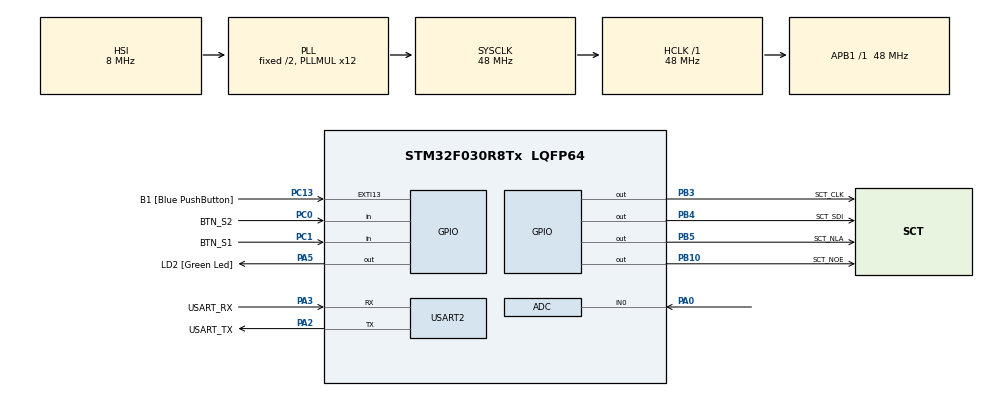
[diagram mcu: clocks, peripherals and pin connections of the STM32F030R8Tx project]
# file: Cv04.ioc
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ADC.ContinuousConvMode=ENABLE
ADC.Overrun=ADC_OVR_DATA_OVERWRITTEN
ADC.SamplingTime=ADC_SAMPLETIME_239CYCLES_5
Mcu.Family=STM32F0
Mcu.Name=STM32F030R8Tx
Mcu.Package=LQFP64
NVIC.ADC1_IRQn=true\:0\:0\:false\:false\:true\:true\:true\:true
PA0.Mode=IN0
PA0.Signal=ADC_IN0
PA13.GPIO_Label=TMS
PA13.Mode=Serial_Wire
PA13.Signal=SYS_SWDIO
PA14.GPIO_Label=TCK
PA14.Mode=Serial_Wire
PA14.Signal=SYS_SWCLK
PA2.GPIO_Label=USART_TX
PA2.GPIO_Mode=GPIO_MODE_AF_PP
PA2.GPIO_PuPd=GPIO_NOPULL
PA2.GPIO_Speed=GPIO_SPEED_FREQ_LOW
PA2.Mode=Asynchronous
PA2.Signal=USART2_TX
PA3.GPIO_Label=USART_RX
PA3.GPIO_Mode=GPIO_MODE_AF_PP
PA3.GPIO_PuPd=GPIO_NOPULL
PA3.GPIO_Speed=GPIO_SPEED_FREQ_LOW
PA3.Mode=Asynchronous
PA3.Signal=USART2_RX
PA5.GPIO_Label=LD2 [Green Led]
PA5.GPIO_Mode=GPIO_MODE_OUTPUT_PP
PA5.GPIO_PuPd=GPIO_NOPULL
PA5.GPIO_Speed=GPIO_SPEED_FREQ_LOW
PA5.Signal=GPIO_Output
PB10.GPIO_Label=SCT_NOE
PB10.Signal=GPIO_Output
PB3.GPIO_Label=SCT_CLK
PB3.Signal=GPIO_Output
PB4.GPIO_Label=SCT_SDI
PB4.Signal=GPIO_Output
PB5.GPIO_Label=SCT_NLA
PB5.Signal=GPIO_Output
PC0.GPIO_Label=BTN_S2
PC0.GPIO_PuPd=GPIO_PULLUP
PC0.Signal=GPIO_Input
PC1.GPIO_Label=BTN_S1
PC1.GPIO_PuPd=GPIO_PULLUP
PC1.Signal=GPIO_Input
PC13.GPIO_Label=B1 [Blue PushButton]
PC13.GPIO_ModeDefaultEXTI=GPIO_MODE_IT_FALLING
PC13.Signal=GPXTI13
PC14-OSC32_IN.Mode=LSE-External-Oscillator
PC14-OSC32_IN.Signal=RCC_OSC32_IN
PC15-OSC32_OUT.Mode=LSE-External-Oscillator
PC15-OSC32_OUT.Signal=RCC_OSC32_OUT
PF0-OSC_IN.Mode=HSE-External-Clock-Source
PF0-OSC_IN.Signal=RCC_OSC_IN
PF1-OSC_OUT.Signal=RCC_OSC_OUT
ProjectManager.HeapSize=0x200
ProjectManager.StackSize=0x400
ProjectManager.TargetToolchain=STM32CubeIDE
RCC.AHBFreq_Value=48000000
RCC.APB1Freq_Value=48000000
RCC.APB1TimFreq_Value=48000000
RCC.HCLKFreq_Value=48000000
RCC.PLLMUL=RCC_PLL_MUL12
RCC.SYSCLKFreq_VALUE=48000000
RCC.SYSCLKSource=RCC_SYSCLKSOURCE_PLLCLK
USART2.VirtualMode-Asynchronous=VM_ASYNC
VP_ADC_TempSens_Input.Mode=IN-TempSens
VP_ADC_Vref_Input.Mode=IN-Vrefint
board=NUCLEO-F030R8

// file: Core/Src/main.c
/* USER CODE BEGIN Header */
/**
  ******************************************************************************
  * @file           : main.c
  * @brief          : Main program body
  ******************************************************************************
  * @attention
  *
  * Copyright (c) 2022 STMicroelectronics.
  * All rights reserved.
  *
  * This software is licensed under terms that can be found in the LICENSE file
  * in the root directory of this software component.
  * If no LICENSE file comes with this software, it is provided AS-IS.
  *
  ******************************************************************************
  */
/* USER CODE END Header */
#include "main.h"

/* USER CODE BEGIN Includes */
#include "sct.h"
/* USER CODE END Includes */

/* USER CODE BEGIN PD */
#define ADC_Q	12
#define TEMP110_CAL_ADDR	((uint16_t*) ((uint32_t) 0x1FFFF7C2))
#define TEMP30_CAL_ADDR		((uint16_t*) ((uint32_t) 0x1FFFF7B8))
#define VREFINT_CAL_ADDR	((uint16_t*) ((uint32_t) 0x1FFFF7BA))
#define BUTTON_DELAY_TIME	5
/* USER CODE END PD */

ADC_HandleTypeDef hadc;

UART_HandleTypeDef huart2;

/* USER CODE BEGIN PV */
static volatile uint32_t raw_pot = 0;
static volatile uint32_t raw_temp = 0;
static volatile uint32_t raw_volt = 0;
static volatile enum {SHOW_POT, SHOW_VOLT, SHOW_TEMP } eState = SHOW_POT;
static volatile uint32_t ulShowDataToTime = 0;
/* USER CODE END PV */

void SystemClock_Config(void);
static void MX_GPIO_Init(void);
static void MX_USART2_UART_Init(void);
static void MX_ADC_Init(void);
/* USER CODE BEGIN PFP */
void tlacitka(void);
/* USER CODE END PFP */

/* USER CODE BEGIN 0 */

void HAL_ADC_ConvCpltCallback(ADC_HandleTypeDef* hadc)
{
	static uint32_t avg_pot = 0;
	static uint32_t channel = 0;
	if (channel == 0){
		raw_pot = avg_pot >> ADC_Q;//calculate mean value
		avg_pot -= raw_pot;//decrease accumulating with mean
		avg_pot += HAL_ADC_GetValue(hadc);//inc accumulating value with new value from ADC
	}
	else if (channel == 1) raw_temp = HAL_ADC_GetValue(hadc);
	else if (channel == 2) raw_volt = HAL_ADC_GetValue(hadc);

	if (__HAL_ADC_GET_FLAG(hadc, ADC_FLAG_EOS)) channel = 0;
	else channel++;
}

void tlacitka(void)
{
	//Button check and turn on leds
	static uint32_t delay = 0;
	static uint16_t debounce_SW1 = 0xFFFF, debounce_SW2 = 0xFFFF;
	uint32_t iTickTime = HAL_GetTick();
	if (iTickTime > (delay + BUTTON_DELAY_TIME))
	{
		delay = HAL_GetTick();
		debounce_SW1 <<= 1;
		debounce_SW2 <<= 1;
		if (HAL_GPIO_ReadPin(BTN_S2_GPIO_Port, BTN_S2_Pin))
			debounce_SW2 |= 0x00001;
		if (HAL_GPIO_ReadPin(BTN_S1_GPIO_Port, BTN_S1_Pin))
			debounce_SW1 |= 0x00001;

		//Turn on led
		if (debounce_SW1 == 0x7FFF)
		{
			eState = SHOW_VOLT;
			ulShowDataToTime = iTickTime + 1000;
		}
		if (debounce_SW2 == 0x7FFF)
		{
			eState = SHOW_TEMP;
			ulShowDataToTime = iTickTime + 1000;
		}
	}
}
/* USER CODE END 0 */

int main(void)
{

  /* MCU Configuration--------------------------------------------------------*/

  /* Reset of all peripherals, Initializes the Flash interface and the Systick. */
  HAL_Init();

  /* Configure the system clock */
  SystemClock_Config();

  /* Initialize all configured peripherals */
  MX_GPIO_Init();
  MX_USART2_UART_Init();
  MX_ADC_Init();
  /* USER CODE BEGIN 2 */
  sct_init();
  HAL_ADCEx_Calibration_Start(&hadc);
  HAL_ADC_Start(&hadc);
  uint32_t ulDelaytime = 0;
  /* USER CODE END 2 */

  /* Infinite loop */
  while (1)
  {

    /* USER CODE BEGIN 3 */
	  tlacitka();
	  uint32_t TickTime = HAL_GetTick();
	  if ((ulDelaytime + 100) < TickTime)//some slow down for changing data on display
	  {
		  ulDelaytime = TickTime;
		  if (ulShowDataToTime < TickTime) eState = SHOW_POT;
		  //Just because switch
		  uint32_t ulRangedAnalog = 0;
		  uint32_t ulVoltage = 0;
		  int32_t lTemp = 0;
		  //switch for show right data
		  switch (eState)
		  {
		  case SHOW_POT:
			  ulRangedAnalog = ((float)raw_pot / (float)0xFFF) * (float)500;//ADC have 12-bit (0xFFF) - to 0..1 and multiply to max range
			  sct_value(ulRangedAnalog/(500/9), ulRangedAnalog);//faster? - not using float variables
			  break;
		  case SHOW_VOLT:
			  ulVoltage = 330 * (*VREFINT_CAL_ADDR) / raw_volt;
			  sct_value(0, ulVoltage);
			  break;
		  case SHOW_TEMP:
			  lTemp = (raw_temp - (int32_t)(*TEMP30_CAL_ADDR));
			  lTemp *= (int32_t)(110-30);
			  lTemp /= (int32_t)(*TEMP110_CAL_ADDR - *TEMP30_CAL_ADDR);
			  lTemp += 30;
			  sct_value(0, lTemp);
			  break;
		  default:
			  eState = SHOW_POT;
			  break;
		  }
	  }
  }
  /* USER CODE END 3 */
}

void SystemClock_Config(void)
{
  RCC_OscInitTypeDef RCC_OscInitStruct = {0};
  RCC_ClkInitTypeDef RCC_ClkInitStruct = {0};

  /** Initializes the RCC Oscillators according to the specified parameters
  * in the RCC_OscInitTypeDef structure.
  */
  RCC_OscInitStruct.OscillatorType = RCC_OSCILLATORTYPE_HSI|RCC_OSCILLATORTYPE_HSI14;
  RCC_OscInitStruct.HSIState = RCC_HSI_ON;
  RCC_OscInitStruct.HSI14State = RCC_HSI14_ON;
  RCC_OscInitStruct.HSICalibrationValue = RCC_HSICALIBRATION_DEFAULT;
  RCC_OscInitStruct.HSI14CalibrationValue = 16;
  RCC_OscInitStruct.PLL.PLLState = RCC_PLL_ON;
  RCC_OscInitStruct.PLL.PLLSource = RCC_PLLSOURCE_HSI;
  RCC_OscInitStruct.PLL.PLLMUL = RCC_PLL_MUL12;
  RCC_OscInitStruct.PLL.PREDIV = RCC_PREDIV_DIV1;
  if (HAL_RCC_OscConfig(&RCC_OscInitStruct) != HAL_OK)
  {
    Error_Handler();
  }

  /** Initializes the CPU, AHB and APB buses clocks
  */
  RCC_ClkInitStruct.ClockType = RCC_CLOCKTYPE_HCLK|RCC_CLOCKTYPE_SYSCLK
                              |RCC_CLOCKTYPE_PCLK1;
  RCC_ClkInitStruct.SYSCLKSource = RCC_SYSCLKSOURCE_PLLCLK;
  RCC_ClkInitStruct.AHBCLKDivider = RCC_SYSCLK_DIV1;
  RCC_ClkInitStruct.APB1CLKDivider = RCC_HCLK_DIV1;

  if (HAL_RCC_ClockConfig(&RCC_ClkInitStruct, FLASH_LATENCY_1) != HAL_OK)
  {
    Error_Handler();
  }
}

static void MX_ADC_Init(void)
{

  ADC_ChannelConfTypeDef sConfig = {0};

  /** Configure the global features of the ADC (Clock, Resolution, Data Alignment and number of conversion)
  */
  hadc.Instance = ADC1;
  hadc.Init.ClockPrescaler = ADC_CLOCK_ASYNC_DIV1;
  hadc.Init.Resolution = ADC_RESOLUTION_12B;
  hadc.Init.DataAlign = ADC_DATAALIGN_RIGHT;
  hadc.Init.ScanConvMode = ADC_SCAN_DIRECTION_FORWARD;
  hadc.Init.EOCSelection = ADC_EOC_SINGLE_CONV;
  hadc.Init.LowPowerAutoWait = DISABLE;
  hadc.Init.LowPowerAutoPowerOff = DISABLE;
  hadc.Init.ContinuousConvMode = ENABLE;
  hadc.Init.DiscontinuousConvMode = DISABLE;
  hadc.Init.ExternalTrigConv = ADC_SOFTWARE_START;
  hadc.Init.ExternalTrigConvEdge = ADC_EXTERNALTRIGCONVEDGE_NONE;
  hadc.Init.DMAContinuousRequests = DISABLE;
  hadc.Init.Overrun = ADC_OVR_DATA_OVERWRITTEN;
  if (HAL_ADC_Init(&hadc) != HAL_OK)
  {
    Error_Handler();
  }

  /** Configure for the selected ADC regular channel to be converted.
  */
  sConfig.Channel = ADC_CHANNEL_0;
  sConfig.Rank = ADC_RANK_CHANNEL_NUMBER;
  sConfig.SamplingTime = ADC_SAMPLETIME_239CYCLES_5;
  if (HAL_ADC_ConfigChannel(&hadc, &sConfig) != HAL_OK)
  {
    Error_Handler();
  }

  /** Configure for the selected ADC regular channel to be converted.
  */
  sConfig.Channel = ADC_CHANNEL_TEMPSENSOR;
  if (HAL_ADC_ConfigChannel(&hadc, &sConfig) != HAL_OK)
  {
    Error_Handler();
  }

  /** Configure for the selected ADC regular channel to be converted.
  */
  sConfig.Channel = ADC_CHANNEL_VREFINT;
  if (HAL_ADC_ConfigChannel(&hadc, &sConfig) != HAL_OK)
  {
    Error_Handler();
  }

}

static void MX_USART2_UART_Init(void)
{

  huart2.Instance = USART2;
  huart2.Init.BaudRate = 38400;
  huart2.Init.WordLength = UART_WORDLENGTH_8B;
  huart2.Init.StopBits = UART_STOPBITS_1;
  huart2.Init.Parity = UART_PARITY_NONE;
  huart2.Init.Mode = UART_MODE_TX_RX;
  huart2.Init.HwFlowCtl = UART_HWCONTROL_NONE;
  huart2.Init.OverSampling = UART_OVERSAMPLING_16;
  huart2.Init.OneBitSampling = UART_ONE_BIT_SAMPLE_DISABLE;
  huart2.AdvancedInit.AdvFeatureInit = UART_ADVFEATURE_NO_INIT;
  if (HAL_UART_Init(&huart2) != HAL_OK)
  {
    Error_Handler();
  }

}

static void MX_GPIO_Init(void)
{
  GPIO_InitTypeDef GPIO_InitStruct = {0};

  /* GPIO Ports Clock Enable */
  __HAL_RCC_GPIOC_CLK_ENABLE();
  __HAL_RCC_GPIOF_CLK_ENABLE();
  __HAL_RCC_GPIOA_CLK_ENABLE();
  __HAL_RCC_GPIOB_CLK_ENABLE();

  /*Configure GPIO pin Output Level */
  HAL_GPIO_WritePin(GPIOA, GPIO_PIN_5, GPIO_PIN_RESET);

  /*Configure GPIO pin Output Level */
  HAL_GPIO_WritePin(GPIOB, GPIO_PIN_10|GPIO_PIN_3|GPIO_PIN_4|GPIO_PIN_5, GPIO_PIN_RESET);

  /*Configure GPIO pin : PC13 */
  GPIO_InitStruct.Pin = GPIO_PIN_13;
  GPIO_InitStruct.Mode = GPIO_MODE_IT_FALLING;
  GPIO_InitStruct.Pull = GPIO_NOPULL;
  HAL_GPIO_Init(GPIOC, &GPIO_InitStruct);

  /*Configure GPIO pins : PC0 PC1 */
  GPIO_InitStruct.Pin = GPIO_PIN_0|GPIO_PIN_1;
  GPIO_InitStruct.Mode = GPIO_MODE_INPUT;
  GPIO_InitStruct.Pull = GPIO_PULLUP;
  HAL_GPIO_Init(GPIOC, &GPIO_InitStruct);

  /*Configure GPIO pin : PA5 */
  GPIO_InitStruct.Pin = GPIO_PIN_5;
  GPIO_InitStruct.Mode = GPIO_MODE_OUTPUT_PP;
  GPIO_InitStruct.Pull = GPIO_NOPULL;
  GPIO_InitStruct.Speed = GPIO_SPEED_FREQ_LOW;
  HAL_GPIO_Init(GPIOA, &GPIO_InitStruct);

  /*Configure GPIO pins : PB10 PB3 PB4 PB5 */
  GPIO_InitStruct.Pin = GPIO_PIN_10|GPIO_PIN_3|GPIO_PIN_4|GPIO_PIN_5;
  GPIO_InitStruct.Mode = GPIO_MODE_OUTPUT_PP;
  GPIO_InitStruct.Pull = GPIO_NOPULL;
  GPIO_InitStruct.Speed = GPIO_SPEED_FREQ_LOW;
  HAL_GPIO_Init(GPIOB, &GPIO_InitStruct);

}

void Error_Handler(void)
{
  __disable_irq();
  while (1)
  {
  }
}
